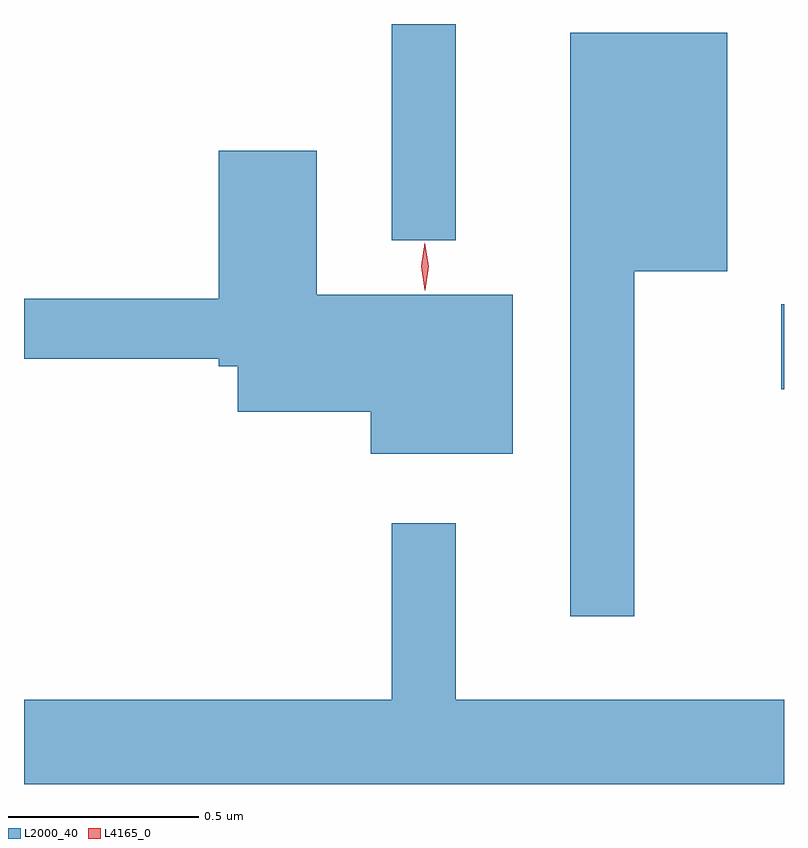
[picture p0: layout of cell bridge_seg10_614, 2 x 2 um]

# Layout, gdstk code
import gdstk
lib = gdstk.Library(unit=1e-6, precision=1e-09)
def R(c, l, rs):  # rectangles x0, y0, x1, y1
    for r in rs: c.add(gdstk.rectangle(r[:2], r[2:], *l))
def P(c, l, *ps):  # polygons
    for p in ps: c.add(gdstk.Polygon(p, *l))
L2000_40 = (2000, 40)
L4165_0 = (4165, 0)

bridge_seg10_614 = lib.new_cell('bridge_seg10_614')
R(bridge_seg10_614, L2000_40, [(671.846,2170.501,671.853,2170.724), (670.821,2170.893,670.989,2171.462)])
P(bridge_seg10_614, L2000_40, [(671.459,2170.811),(671.704,2170.811),(671.704,2171.439),(671.291,2171.439),(671.291,2169.903),(671.459,2169.903)],
  [(671.139,2170.749),(670.624,2170.749),(670.624,2171.129),(670.366,2171.129),(670.366,2170.739),(669.853,2170.739),(669.853,2170.581),(670.366,2170.581),(670.366,2170.561),(670.416,2170.561),(670.416,2170.441),(670.766,2170.441),(670.766,2170.331),(671.139,2170.331)],
  [(671.853,2169.684),(670.989,2169.684),(670.989,2170.148),(670.821,2170.148),(670.821,2169.684),(669.853,2169.684),(669.853,2169.462),(671.853,2169.462)])
P(bridge_seg10_614, L4165_0, [(670.908,2170.761),(670.908,2170.762),(670.898,2170.824),(670.907,2170.887),(670.908,2170.887),(670.908,2170.887),(670.918,2170.824),(670.909,2170.762)])

lib.write_gds('bridge_seg10_614.gds')
